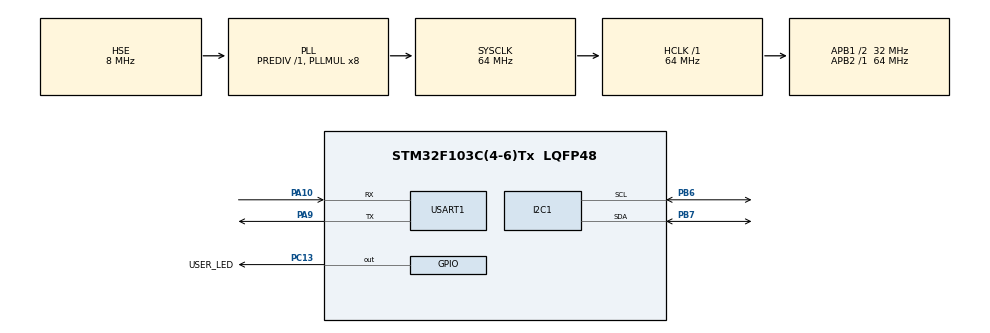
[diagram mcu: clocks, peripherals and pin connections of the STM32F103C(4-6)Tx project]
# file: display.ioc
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I2C1.I2C_Mode=I2C_Fast
Mcu.Family=STM32F1
Mcu.Name=STM32F103C(4-6)Tx
Mcu.Package=LQFP48
NVIC.PriorityGroup=NVIC_PRIORITYGROUP_4
PA10.Mode=Asynchronous
PA10.Signal=USART1_RX
PA9.Mode=Asynchronous
PA9.Signal=USART1_TX
PB6.Mode=I2C
PB6.Signal=I2C1_SCL
PB7.Mode=I2C
PB7.Signal=I2C1_SDA
PC13-TAMPER-RTC.GPIO_Label=USER_LED
PC13-TAMPER-RTC.Signal=GPIO_Output
PD0-OSC_IN.Mode=HSE-External-Oscillator
PD0-OSC_IN.Signal=RCC_OSC_IN
PD1-OSC_OUT.Mode=HSE-External-Oscillator
PD1-OSC_OUT.Signal=RCC_OSC_OUT
ProjectManager.HeapSize=0x200
ProjectManager.StackSize=0x400
ProjectManager.TargetToolchain=Makefile
RCC.AHBFreq_Value=64000000
RCC.APB1CLKDivider=RCC_HCLK_DIV2
RCC.APB1Freq_Value=32000000
RCC.APB1TimFreq_Value=64000000
RCC.APB2Freq_Value=64000000
RCC.APB2TimFreq_Value=64000000
RCC.HCLKFreq_Value=64000000
RCC.PLLMUL=RCC_PLL_MUL8
RCC.PLLSourceVirtual=RCC_PLLSOURCE_HSE
RCC.SYSCLKFreq_VALUE=64000000
RCC.SYSCLKSource=RCC_SYSCLKSOURCE_PLLCLK
RCC.USBFreq_Value=64000000
USART1.VirtualMode=VM_ASYNC
VP_SYS_VS_ND.Mode=No_Debug
board=custom

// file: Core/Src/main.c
/* USER CODE BEGIN Header */
/**
 ******************************************************************************
 * @file           : main.c
 * @brief          : Main program body
 ******************************************************************************
 * @attention
 *
 * Copyright (c) 2025 STMicroelectronics.
 * All rights reserved.
 *
 * This software is licensed under terms that can be found in the LICENSE file
 * in the root directory of this software component.
 * If no LICENSE file comes with this software, it is provided AS-IS.
 *
 ******************************************************************************
 */
/* USER CODE END Header */
#include "main.h"

/* USER CODE BEGIN Includes */
#include "stm32f1xx_hal.h"
#include "u8g2.h"
#include <stdbool.h>
#include <stdio.h>
#include <sys/types.h>
/* USER CODE END Includes */

I2C_HandleTypeDef hi2c1;

UART_HandleTypeDef huart1;

/* USER CODE BEGIN PV */
u8g2_t myDisplay;
/* USER CODE END PV */

void SystemClock_Config(void);
static void MX_GPIO_Init(void);
static void MX_I2C1_Init(void);
static void MX_USART1_UART_Init(void);
/* USER CODE BEGIN PFP */
#define PUTCHAR_PROTOTYPE int __io_putchar(int ch)
/* USER CODE END PFP */

/* USER CODE BEGIN 0 */
//Callbacks
uint8_t u8x8_gpio_and_delay(u8x8_t *u8x8, uint8_t msg, uint8_t arg_int,
                            void *arg_ptr) {
  switch (msg) {
  case U8X8_MSG_DELAY_MILLI: // delay arg_int * 1 milli second
    HAL_Delay(arg_int);
    break;
  }
  return 1;
}

uint8_t u8x8_i2c(u8x8_t *u8x8, uint8_t msg, uint8_t arg_int, void *arg_ptr) {
  static uint8_t buffer[32]; /* u8g2/u8x8 will never send more than 32 bytes
                                between START_TRANSFER and END_TRANSFER */
  static uint8_t buf_idx;
  uint8_t *data;

  switch (msg) {
  case U8X8_MSG_BYTE_SEND:
    data = (uint8_t *)arg_ptr;
    while (arg_int > 0) {
      buffer[buf_idx++] = *data;
      data++;
      arg_int--;
    }
    break;
  case U8X8_MSG_BYTE_INIT:
    /* add your custom code to init i2c subsystem */
    break;
  case U8X8_MSG_BYTE_SET_DC:
    /* ignored for i2c */
    break;
  case U8X8_MSG_BYTE_START_TRANSFER:
    buf_idx = 0;
    break;
  case U8X8_MSG_BYTE_END_TRANSFER:
    HAL_I2C_Master_Transmit(&hi2c1, 0x78, buffer, buf_idx, 1000);
    break;
  default:
    return 0;
  }
  return 1;
}

/* USER CODE END 0 */

int main(void)
{

  /* MCU Configuration--------------------------------------------------------*/

  /* Reset of all peripherals, Initializes the Flash interface and the Systick. */
  HAL_Init();

  /* Configure the system clock */
  SystemClock_Config();

  /* Initialize all configured peripherals */
  MX_GPIO_Init();
  MX_I2C1_Init();
  MX_USART1_UART_Init();
  /* USER CODE BEGIN 2 */
  u8g2_Setup_ssd1309_i2c_128x64_noname0_f(
      &myDisplay, U8G2_R0, u8x8_i2c,
      u8x8_gpio_and_delay);     // init u8g2 structure
  u8g2_InitDisplay(&myDisplay); // send init sequence to the display, display is
                                // in sleep mode after this,
  u8g2_SetPowerSave(&myDisplay, 0); // wake up display
  /* USER CODE END 2 */

  /* Infinite loop */
  /* USER CODE BEGIN WHILE */
  u8g2_ClearBuffer(&myDisplay); // Clear internal buffer (not the screen yet)
  u8g2_SetFont(&myDisplay, u8g2_font_ncenB08_tr);
  u8g2_DrawStr(&myDisplay, 5, 5, "Powering on...");
  u8g2_SendBuffer(&myDisplay); // Push buffer to screen
  HAL_Delay(5000);
  while (1) {
    u8g2_ClearBuffer(&myDisplay); // Clear internal buffer (not the screen yet)
    u8g2_SetFont(&myDisplay, u8g2_font_ncenB08_tr);
    u8g2_DrawStr(&myDisplay, 5, 10, "Bombaclatt");

    u8g2_DrawCircle(&myDisplay, 64, 32, 20, U8G2_DRAW_ALL);

    u8g2_SendBuffer(&myDisplay); // Push buffer to screen

    HAL_GPIO_TogglePin(USER_LED_GPIO_Port, USER_LED_Pin);
    HAL_Delay(2000);
    HAL_GPIO_TogglePin(USER_LED_GPIO_Port, USER_LED_Pin);
  }

    /* USER CODE END WHILE */

}

void SystemClock_Config(void)
{
  RCC_OscInitTypeDef RCC_OscInitStruct = {0};
  RCC_ClkInitTypeDef RCC_ClkInitStruct = {0};

  /** Initializes the RCC Oscillators according to the specified parameters
  * in the RCC_OscInitTypeDef structure.
  */
  RCC_OscInitStruct.OscillatorType = RCC_OSCILLATORTYPE_HSE;
  RCC_OscInitStruct.HSEState = RCC_HSE_ON;
  RCC_OscInitStruct.HSEPredivValue = RCC_HSE_PREDIV_DIV1;
  RCC_OscInitStruct.HSIState = RCC_HSI_ON;
  RCC_OscInitStruct.PLL.PLLState = RCC_PLL_ON;
  RCC_OscInitStruct.PLL.PLLSource = RCC_PLLSOURCE_HSE;
  RCC_OscInitStruct.PLL.PLLMUL = RCC_PLL_MUL8;
  if (HAL_RCC_OscConfig(&RCC_OscInitStruct) != HAL_OK)
  {
    Error_Handler();
  }

  /** Initializes the CPU, AHB and APB buses clocks
  */
  RCC_ClkInitStruct.ClockType = RCC_CLOCKTYPE_HCLK|RCC_CLOCKTYPE_SYSCLK
                              |RCC_CLOCKTYPE_PCLK1|RCC_CLOCKTYPE_PCLK2;
  RCC_ClkInitStruct.SYSCLKSource = RCC_SYSCLKSOURCE_PLLCLK;
  RCC_ClkInitStruct.AHBCLKDivider = RCC_SYSCLK_DIV1;
  RCC_ClkInitStruct.APB1CLKDivider = RCC_HCLK_DIV2;
  RCC_ClkInitStruct.APB2CLKDivider = RCC_HCLK_DIV1;

  if (HAL_RCC_ClockConfig(&RCC_ClkInitStruct, FLASH_LATENCY_2) != HAL_OK)
  {
    Error_Handler();
  }
}

static void MX_I2C1_Init(void)
{

  hi2c1.Instance = I2C1;
  hi2c1.Init.ClockSpeed = 400000;
  hi2c1.Init.DutyCycle = I2C_DUTYCYCLE_2;
  hi2c1.Init.OwnAddress1 = 0;
  hi2c1.Init.AddressingMode = I2C_ADDRESSINGMODE_7BIT;
  hi2c1.Init.DualAddressMode = I2C_DUALADDRESS_DISABLE;
  hi2c1.Init.OwnAddress2 = 0;
  hi2c1.Init.GeneralCallMode = I2C_GENERALCALL_DISABLE;
  hi2c1.Init.NoStretchMode = I2C_NOSTRETCH_DISABLE;
  if (HAL_I2C_Init(&hi2c1) != HAL_OK)
  {
    Error_Handler();
  }

}

static void MX_USART1_UART_Init(void)
{

  huart1.Instance = USART1;
  huart1.Init.BaudRate = 115200;
  huart1.Init.WordLength = UART_WORDLENGTH_8B;
  huart1.Init.StopBits = UART_STOPBITS_1;
  huart1.Init.Parity = UART_PARITY_NONE;
  huart1.Init.Mode = UART_MODE_TX_RX;
  huart1.Init.HwFlowCtl = UART_HWCONTROL_NONE;
  huart1.Init.OverSampling = UART_OVERSAMPLING_16;
  if (HAL_UART_Init(&huart1) != HAL_OK)
  {
    Error_Handler();
  }

}

static void MX_GPIO_Init(void)
{
  GPIO_InitTypeDef GPIO_InitStruct = {0};

  /* GPIO Ports Clock Enable */
  __HAL_RCC_GPIOC_CLK_ENABLE();
  __HAL_RCC_GPIOD_CLK_ENABLE();
  __HAL_RCC_GPIOA_CLK_ENABLE();
  __HAL_RCC_GPIOB_CLK_ENABLE();

  /*Configure GPIO pin Output Level */
  HAL_GPIO_WritePin(USER_LED_GPIO_Port, USER_LED_Pin, GPIO_PIN_RESET);

  /*Configure GPIO pin : USER_LED_Pin */
  GPIO_InitStruct.Pin = USER_LED_Pin;
  GPIO_InitStruct.Mode = GPIO_MODE_OUTPUT_PP;
  GPIO_InitStruct.Pull = GPIO_NOPULL;
  GPIO_InitStruct.Speed = GPIO_SPEED_FREQ_LOW;
  HAL_GPIO_Init(USER_LED_GPIO_Port, &GPIO_InitStruct);

}

/* USER CODE BEGIN 4 */
/**
 * @brief  Retargets the C library printf function to the USART.
 * @retval None
 */
PUTCHAR_PROTOTYPE {
  /* Place your implementation of fputc here */
  /* e.g. write a character to the USART1 and Loop until the end of transmission
   */
  HAL_UART_Transmit(&huart1, (uint8_t *)&ch, 1, 0xFFFF);

  return ch;
}
/* USER CODE END 4 */

void Error_Handler(void)
{
  __disable_irq();
  while (1) {
  }
}
#ifdef USE_FULL_ASSERT
/**
  * @brief  Reports the name of the source file and the source line number
  *         where the assert_param error has occurred.
  * @param  file: pointer to the source file name
  * @param  line: assert_param error line source number
  * @retval None
  */
void assert_failed(uint8_t *file, uint32_t line)
{
  /* USER CODE BEGIN 6 */
  /* User can add his own implementation to report the file name and line
     number, ex: printf("Wrong parameters value: file %s on line %d\r\n", file,
     line) */
  /* USER CODE END 6 */
}
#endif /* USE_FULL_ASSERT */
